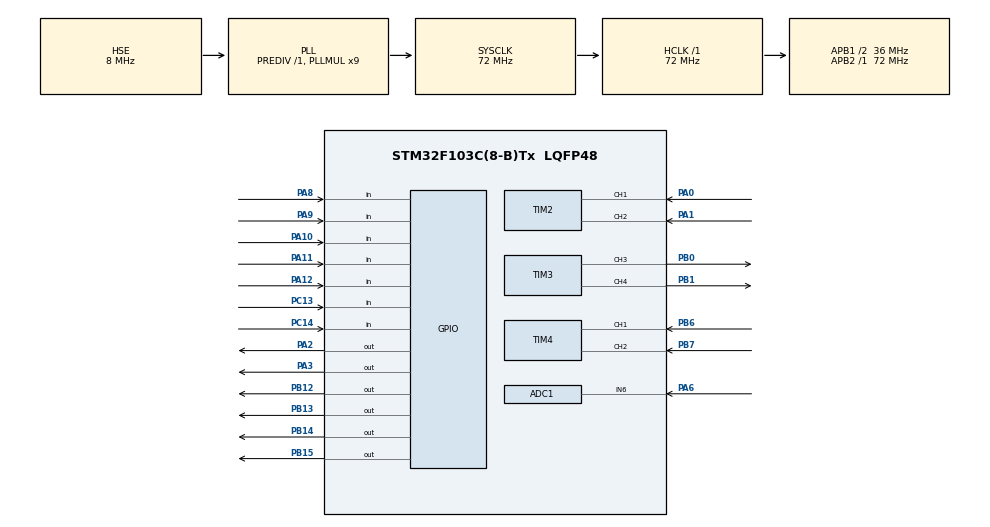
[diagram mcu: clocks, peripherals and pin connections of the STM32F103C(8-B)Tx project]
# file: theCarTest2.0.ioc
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ADC1.Channel-0\#ChannelRegularConversion=ADC_CHANNEL_6
ADC1.NbrOfConversionFlag=1
ADC1.Rank-0\#ChannelRegularConversion=1
ADC1.SamplingTime-0\#ChannelRegularConversion=ADC_SAMPLETIME_1CYCLE_5
ADC1.master=1
Mcu.Family=STM32F1
Mcu.Name=STM32F103C(8-B)Tx
Mcu.Package=LQFP48
NVIC.PriorityGroup=NVIC_PRIORITYGROUP_4
PA0-WKUP.Signal=S_TIM2_CH1_ETR
PA1.Signal=S_TIM2_CH2
PA10.Signal=GPIO_Input
PA11.Signal=GPIO_Input
PA12.Signal=GPIO_Input
PA13.Mode=Serial_Wire
PA13.Signal=SYS_JTMS-SWDIO
PA14.Mode=Serial_Wire
PA14.Signal=SYS_JTCK-SWCLK
PA2.Signal=GPIO_Output
PA3.Signal=GPIO_Output
PA6.Signal=ADCx_IN6
PA8.Signal=GPIO_Input
PA9.Signal=GPIO_Input
PB0.Signal=S_TIM3_CH3
PB1.Signal=S_TIM3_CH4
PB12.Signal=GPIO_Output
PB13.Signal=GPIO_Output
PB14.Signal=GPIO_Output
PB15.Signal=GPIO_Output
PB6.Signal=S_TIM4_CH1
PB7.Signal=S_TIM4_CH2
PC13-TAMPER-RTC.Signal=GPIO_Input
PC14-OSC32_IN.Signal=GPIO_Input
PD0-OSC_IN.Mode=HSE-External-Oscillator
PD0-OSC_IN.Signal=RCC_OSC_IN
PD1-OSC_OUT.Mode=HSE-External-Oscillator
PD1-OSC_OUT.Signal=RCC_OSC_OUT
ProjectManager.HeapSize=0x200
ProjectManager.StackSize=0x400
ProjectManager.TargetToolchain=CMake
RCC.ADCPresc=RCC_ADCPCLK2_DIV6
RCC.AHBFreq_Value=72000000
RCC.APB1CLKDivider=RCC_HCLK_DIV2
RCC.APB1Freq_Value=36000000
RCC.APB1TimFreq_Value=72000000
RCC.APB2Freq_Value=72000000
RCC.APB2TimFreq_Value=72000000
RCC.HCLKFreq_Value=72000000
RCC.PLLMUL=RCC_PLL_MUL9
RCC.PLLSourceVirtual=RCC_PLLSOURCE_HSE
RCC.SYSCLKFreq_VALUE=72000000
RCC.SYSCLKSource=RCC_SYSCLKSOURCE_PLLCLK
RCC.USBFreq_Value=72000000
SH.ADCx_IN6.0=ADC1_IN6,IN6
SH.S_TIM2_CH1_ETR.0=TIM2_CH1,Encoder_Interface
SH.S_TIM2_CH2.0=TIM2_CH2,Encoder_Interface
SH.S_TIM3_CH3.0=TIM3_CH3,Output Compare3 CH3
SH.S_TIM3_CH4.0=TIM3_CH4,PWM Generation4 CH4
SH.S_TIM4_CH1.0=TIM4_CH1,Encoder_Interface
SH.S_TIM4_CH2.0=TIM4_CH2,Encoder_Interface
TIM3.Channel-Output\ Compare3\ CH3=TIM_CHANNEL_3
TIM3.Channel-PWM\ Generation4\ CH4=TIM_CHANNEL_4
board=custom

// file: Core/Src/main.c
/* USER CODE BEGIN Header */
/**
  ******************************************************************************
  * @file           : main.c
  * @brief          : Main program body
  ******************************************************************************
  * @attention
  *
  * Copyright (c) 2026 STMicroelectronics.
  * All rights reserved.
  *
  * This software is licensed under terms that can be found in the LICENSE file
  * in the root directory of this software component.
  * If no LICENSE file comes with this software, it is provided AS-IS.
  *
  ******************************************************************************
  */
/* USER CODE END Header */
#include "main.h"
#include "adc.h"
#include "servo.h"
#include "tim.h"
#include "gpio.h"
#include "sensor.h"
#include "pid.h"
#include "motor.h"
#include "OLED.h"
#include"motor.h"
/* USER CODE BEGIN Includes */
#include <stdio.h>

/* USER CODE END Includes */

void SystemClock_Config(void);

/* USER CODE BEGIN 0 */

int Get_Track_Error(uint8_t status)
{
    // 此时 status 是原始数据：0 代表黑线，1 代表白纸
    switch (status)
    {
        // --- 正中间 ---
        case 0x09: return 0;   // 1001 (中间两路踩黑线)
        case 0x00: return 0;   // 0000 (全黑，可能是十字路口，暂定直走)
        case 0x0F: return 0;   // 1111 (全白/丢线)

        // --- 偏右 (需左转，返回负值) ---
        case 0x0B: return -1;  // 1011 (只有左二踩线，稍微偏右)
        case 0x03: return -2;  // 0011 (左侧两路踩线，偏右)
        case 0x07: return -3;  // 0111 (只有最左踩线，大幅偏右)
        case 0x02: return -4;  // 0010 (左边三路踩线，极端情况)

        // --- 偏左 (需右转，返回正值) ---
        case 0x0D: return 1;   // 1101 (只有右二踩线，稍微偏左)
        case 0x0C: return 2;   // 1100 (右侧两路踩线，偏左)
        case 0x0E: return 3;   // 1110 (只有最右踩线，大幅偏左)
        case 0x04: return 4;   // 0100 (右边三路踩线，极端情况)

        default: return 0;
    }
}

void Execute_Avoidance(void)
{
    OLED_ShowString(48, 40, "AVOID", OLED_8X16);
    OLED_Update();

    // 1. 原地右转 (躲开障碍物)
    Motor_SetSpeed(300, -300);
    HAL_Delay(500); // 调整时间使转角约 45-90度

    // 2. 直行一段距离 (绕过侧面)
    Motor_SetSpeed(300, 300);
    HAL_Delay(1000);

    // 3. 左转回到平行于黑线的方向
    Motor_SetSpeed(-300, 300);
    HAL_Delay(500);

    // 4. 直行超过障碍物长度
    Motor_SetSpeed(300, 300);
    HAL_Delay(1000);

    // 5. 左转切回黑线
    Motor_SetSpeed(-300, 300);
    HAL_Delay(500);
		//6.继续前进
		Motor_SetSpeed(300, 300);
    HAL_Delay(1000);
		//7.右转
		Motor_SetSpeed(300, -300);
    HAL_Delay(500);

}
/* USER CODE END 0 */

int main(void)
{

  /* MCU Configuration--------------------------------------------------------*/

  /* Reset of all peripherals, Initializes the Flash interface and the Systick. */
  HAL_Init();

  /* Configure the system clock */
  SystemClock_Config();

  /* Initialize all configured peripherals */
  MX_GPIO_Init();
  MX_ADC1_Init();
  MX_TIM2_Init();
  MX_TIM3_Init();
  MX_TIM4_Init();
  Servo_Init();
  /* USER CODE BEGIN 2 */

  Motor_Init();
  OLED_Init();
  OLED_ShowString(0, 0, "Status:", OLED_8X16);
  OLED_ShowString(0, 16, "Error:", OLED_8X16);
  OLED_Update();

  HAL_TIM_Encoder_Start(&htim2, TIM_CHANNEL_ALL);
  HAL_TIM_Encoder_Start(&htim4, TIM_CHANNEL_ALL);

  PID_t trackPID;
  PID_Init(&trackPID);
  trackPID.Kp = 20.0f;
  trackPID.Ki = 0.0f;
  trackPID.Kd = 5.0f;
  trackPID.OutMax = 400;
  trackPID.OutMin = -400;

  //for test

  /* USER CODE END 2 */
  HAL_TIM_PWM_Start(&htim4, TIM_CHANNEL_3); // 启动舵机1 (PB8)
  HAL_TIM_PWM_Start(&htim4, TIM_CHANNEL_4); // 启动舵机2 (PB9)
  OLED_Clear();
  OLED_ShowString(0, 0,  "Track:", OLED_8X16);
  OLED_ShowString(0, 20, "PID:",   OLED_8X16);
  OLED_ShowString(0, 40, "Mode:",  OLED_8X16);
  OLED_Update();
  /* Infinite loop */
  while (1)
  {

     if (Sensor_Read_Avoid_L() == 0 && Sensor_Read_Avoid_R() == 0)
      {
          Execute_Avoidance();
          Servo_SetAngle(TIM_CHANNEL_3, 90); // 让 PB8 的舵机转到 45.5 度
Servo_SetAngle(TIM_CHANNEL_4, 135);  // 让 PB9 的舵机转到 135 度
          continue;
      }

      // 2. 读取 4 路循迹状态
      uint8_t sensor_status = Sensor_Read_Tracking() & 0x0F;

      if (sensor_status == 0x00)
      {
          Motor_SetSpeed(0, 0);
          OLED_ShowString(48, 40, "STOP   ", OLED_8X16);
      }
      else
      {
          OLED_ShowString(48, 40, "RUN  ", OLED_8X16);
          // 3. 计算 PID 并设置电机速度
          int error = Get_Track_Error(sensor_status);
          trackPID.Target = 0;
          trackPID.Actual = (float)error;
          PID_Update(&trackPID);

          int BaseSpeed = 300;
          int speed_L = BaseSpeed + (int)trackPID.Out;
          int speed_R = BaseSpeed - (int)trackPID.Out;

          Motor_SetSpeed(speed_L, speed_R);
          OLED_ShowBinNum(48, 0, sensor_status, 5, OLED_8X16);
          // 第二行显示 PID 输出量 (X=48, Y=20)
          OLED_ShowSignedNum(48, 20, (int)trackPID.Out, 4, OLED_8X16);
      }

    HAL_Delay(10);
  }
}

void SystemClock_Config(void)
{
  RCC_OscInitTypeDef RCC_OscInitStruct = {0};
  RCC_ClkInitTypeDef RCC_ClkInitStruct = {0};
  RCC_PeriphCLKInitTypeDef PeriphClkInit = {0};

  /** Initializes the RCC Oscillators according to the specified parameters
  * in the RCC_OscInitTypeDef structure.
  */
  RCC_OscInitStruct.OscillatorType = RCC_OSCILLATORTYPE_HSE;
  RCC_OscInitStruct.HSEState = RCC_HSE_ON;
  RCC_OscInitStruct.HSEPredivValue = RCC_HSE_PREDIV_DIV1;
  RCC_OscInitStruct.HSIState = RCC_HSI_ON;
  RCC_OscInitStruct.PLL.PLLState = RCC_PLL_ON;
  RCC_OscInitStruct.PLL.PLLSource = RCC_PLLSOURCE_HSE;
  RCC_OscInitStruct.PLL.PLLMUL = RCC_PLL_MUL9;
  if (HAL_RCC_OscConfig(&RCC_OscInitStruct) != HAL_OK)
  {
    Error_Handler();
  }

  /** Initializes the CPU, AHB and APB buses clocks
  */
  RCC_ClkInitStruct.ClockType = RCC_CLOCKTYPE_HCLK|RCC_CLOCKTYPE_SYSCLK
                              |RCC_CLOCKTYPE_PCLK1|RCC_CLOCKTYPE_PCLK2;
  RCC_ClkInitStruct.SYSCLKSource = RCC_SYSCLKSOURCE_PLLCLK;
  RCC_ClkInitStruct.AHBCLKDivider = RCC_SYSCLK_DIV1;
  RCC_ClkInitStruct.APB1CLKDivider = RCC_HCLK_DIV2;
  RCC_ClkInitStruct.APB2CLKDivider = RCC_HCLK_DIV1;

  if (HAL_RCC_ClockConfig(&RCC_ClkInitStruct, FLASH_LATENCY_2) != HAL_OK)
  {
    Error_Handler();
  }
  PeriphClkInit.PeriphClockSelection = RCC_PERIPHCLK_ADC;
  PeriphClkInit.AdcClockSelection = RCC_ADCPCLK2_DIV6;
  if (HAL_RCCEx_PeriphCLKConfig(&PeriphClkInit) != HAL_OK)
  {
    Error_Handler();
  }
}

void Error_Handler(void)
{
  __disable_irq();
  while (1)
  {
  }
}
